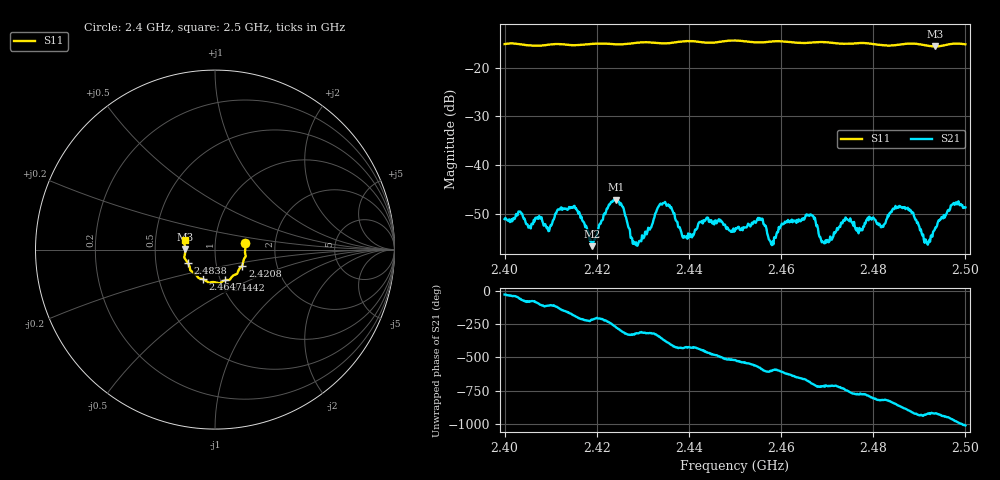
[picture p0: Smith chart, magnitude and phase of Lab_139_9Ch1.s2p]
# Hz S RI R 50
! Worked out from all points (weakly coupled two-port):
!   601 points, 2.4 GHz to 2.5 GHz, reference 50 ohm
!   highest |S21| = -47.14 dB at 2.4242 GHz (marker M1); lowest = -56.7 dB at 2.419 GHz (marker M2)
!   lowest |S11| = -15.7 dB at 2.4935 GHz (marker M3), VSWR 1.39, Z = 35.9 + j0.152 ohm
!   |S11| at or under -10 dB: start of sweep to end of sweep
!   S12 and S22 are empty: the file has one direction only
!   S11 on the Smith chart (normalised r, x): 2.4 GHz: 1.40, +0.11; 2.4208 GHz: 1.33, -0.25; 2.4442 GHz: 1.05, -0.37; 2.4647 GHz: 0.83, -0.28; 2.4838 GHz: 0.73, -0.11; 2.5 GHz: 0.71, +0.08
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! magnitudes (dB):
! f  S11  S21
! 2.4 GHz  -15.2  -51.1
! 2.4167 GHz  -15.3  -50.6
! 2.419 GHz  -15.1  -56.7
! 2.4208 GHz  -15.1  -52.0
! 2.4242 GHz  -15.2  -47.1
! 2.4283 GHz  -14.9  -56.3
! 2.4333 GHz  -15.0  -48.6
! 2.4392 GHz  -14.6  -54.8
! 2.4442 GHz  -14.9  -50.8
! 2.45 GHz  -14.4  -53.5
! 2.4555 GHz  -14.8  -51.1
! 2.4578 GHz  -14.7  -56.1
! 2.4647 GHz  -15.0  -51.2
! 2.4667 GHz  -14.9  -50.4
! 2.4693 GHz  -14.8  -56.1
! 2.474 GHz  -15.1  -50.8
! 2.4833 GHz  -15.5  -50.5
! 2.4838 GHz  -15.5  -49.6
! 2.488 GHz  -15.1  -49.4
! 2.4915 GHz  -15.5  -55.6
! 2.4935 GHz  -15.7  -52.8
! 2.5 GHz  -15.2  -48.7
